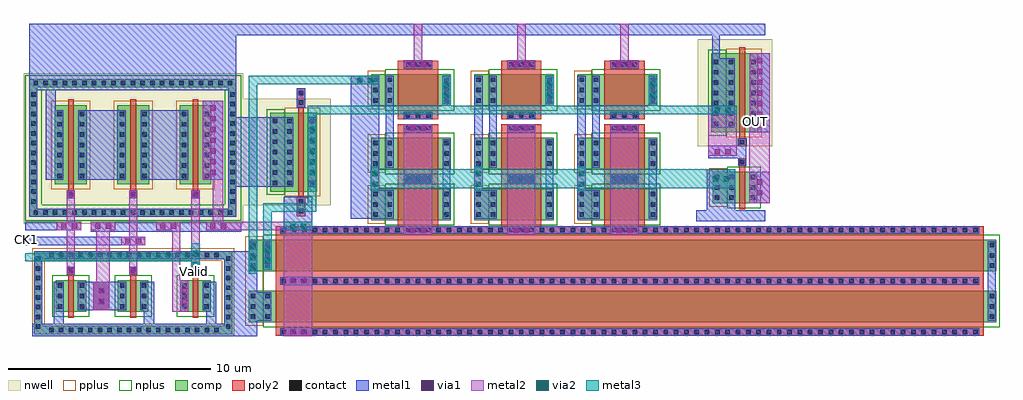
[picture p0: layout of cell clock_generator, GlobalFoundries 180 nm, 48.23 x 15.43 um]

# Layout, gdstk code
from math import pi, radians
import gdstk
lib = gdstk.Library(unit=1e-6, precision=1e-09)
def R(c, l, rs):  # rectangles x0, y0, x1, y1
    for r in rs: c.add(gdstk.rectangle(r[:2], r[2:], *l))
def A(c, l, x, y, w, h, nx, ny, dx, dy):  # array of equal rectangles
    R(c, l, [(x+i*dx, y+j*dy, x+i*dx+w, y+j*dy+h) for i in range(nx) for j in range(ny)])
nwell = (21, 0)
comp = (22, 0)
poly2 = (30, 0)
pplus = (31, 0)
nplus = (32, 0)
contact = (33, 0)
metal1 = (34, 0)
via1 = (35, 0)
metal2 = (36, 0)
via2 = (38, 0)
metal3 = (42, 0)

nfet = lib.new_cell('nfet')
R(nfet, comp, [(-0.42,0,0,1.56), (0,0,35.38,1.56), (35.38,0,35.8,1.56), (35.8,0,36.51,1.56)])
R(nfet, poly2, [(0.19,-0.66,35.19,-0.3), (0.19,-0.3,35.19,1.86), (0.19,1.86,35.19,2.22)])
R(nfet, pplus, [(35.8,-0.17,36.68,1.73)])
R(nfet, nplus, [(-0.59,-0.24,35.8,1.8)])
A(nfet, contact, 0.495, -0.59, 0.22, 0.22, 68, 2, 0.51, 2.52)
A(nfet, contact, -0.32, 0.16, 0.22, 0.22, 1, 3, 0, 0.51)
A(nfet, contact, 35.48, 0.16, 0.22, 0.22, 1, 3, 0, 0.51)
A(nfet, contact, 36.19, 0.16, 0.22, 0.22, 1, 3, 0, 0.51)
R(nfet, metal1, [(0.415,-0.67,34.965,-0.29), (-0.4,0.08,-0.02,1.48), (35.4,0.08,35.78,1.48), (36.11,0.08,36.49,1.48), (0.415,1.85,34.965,2.23)])

via_dev = lib.new_cell('via_dev')
R(via_dev, poly2, [(0,0,0.96,0.42)])
R(via_dev, contact, [(0.13,0.1,0.35,0.32), (0.61,0.1,0.83,0.32)])
R(via_dev, metal1, [(0,0,0.96,0.42)])

pfet = lib.new_cell('pfet')
R(pfet, nwell, [(-1.15,-0.69,2.54,4.59)])
R(pfet, comp, [(-0.46,0,0,3.9), (0,0,0.66,3.9), (0.66,0,1.12,3.9), (1.12,0,1.85,3.9)])
R(pfet, poly2, [(0.14,-0.68,0.52,-0.3), (0.19,-0.3,0.47,4.2), (0.14,4.2,0.52,4.58)])
R(pfet, pplus, [(-0.63,-0.24,1.12,4.14)])
R(pfet, nplus, [(1.12,-0.17,2.02,4.07)])
A(pfet, contact, -0.34, 0.31, 0.22, 0.22, 1, 7, 0, 0.51)
A(pfet, contact, 0.78, 0.31, 0.22, 0.22, 1, 7, 0, 0.51)
A(pfet, contact, 1.51, 0.31, 0.22, 0.22, 1, 7, 0, 0.51)
R(pfet, contact, [(0.22,-0.6,0.44,-0.38), (0.22,4.28,0.44,4.5)])
R(pfet, metal1, [(0.14,-0.681,0.52,-0.299), (-0.42,0.23,-0.04,3.67), (0.7,0.23,1.08,3.67), (1.43,0.23,1.81,3.67), (0.14,4.199,0.52,4.581)])

via_dev_1 = lib.new_cell('via_dev$1')
R(via_dev_1, metal1, [(0,0,1.4,0.42)])
R(via_dev_1, via1, [(0.305,0.08,0.565,0.34), (0.835,0.08,1.095,0.34)])
R(via_dev_1, metal2, [(0,0,1.4,0.42)])
R(via_dev_1, via2, [(0.305,0.08,0.565,0.34), (0.835,0.08,1.095,0.34)])
R(via_dev_1, metal3, [(0,0,1.4,0.42)])

via_dev_2 = lib.new_cell('via_dev$2')
R(via_dev_2, metal1, [(0,0,1.4,0.42)])
R(via_dev_2, via1, [(0.305,0.08,0.565,0.34), (0.835,0.08,1.095,0.34)])
R(via_dev_2, metal2, [(0,0,1.4,0.42)])

via_dev_3 = lib.new_cell('via_dev$3')
R(via_dev_3, metal1, [(0,0,3,0.42)])
A(via_dev_3, via1, 0.31, 0.08, 0.26, 0.26, 5, 1, 0.53, 0)
R(via_dev_3, metal2, [(0,0,3,0.42)])
A(via_dev_3, via2, 0.31, 0.08, 0.26, 0.26, 5, 1, 0.53, 0)
R(via_dev_3, metal3, [(0,0,3,0.42)])

nfet_1 = lib.new_cell('nfet$1')
R(nfet_1, comp, [(-0.42,0,0,1.56), (0,0,2.38,1.56), (2.38,0,2.8,1.56), (2.8,0,3.51,1.56)])
R(nfet_1, poly2, [(0.19,-0.66,2.19,-0.3), (0.19,-0.3,2.19,1.86), (0.19,1.86,2.19,2.22)])
R(nfet_1, pplus, [(2.8,-0.17,3.68,1.73)])
R(nfet_1, nplus, [(-0.59,-0.24,2.8,1.8)])
A(nfet_1, contact, 0.57, -0.59, 0.22, 0.22, 3, 2, 0.51, 2.52)
A(nfet_1, contact, -0.32, 0.16, 0.22, 0.22, 1, 3, 0, 0.51)
A(nfet_1, contact, 2.48, 0.16, 0.22, 0.22, 1, 3, 0, 0.51)
A(nfet_1, contact, 3.19, 0.16, 0.22, 0.22, 1, 3, 0, 0.51)
R(nfet_1, metal1, [(0.49,-0.67,1.89,-0.29), (-0.4,0.08,-0.02,1.48), (2.4,0.08,2.78,1.48), (3.11,0.08,3.49,1.48), (0.49,1.85,1.89,2.23)])

via_dev_4 = lib.new_cell('via_dev$4')
R(via_dev_4, metal1, [(0,0,1.2,0.42)])
R(via_dev_4, via1, [(0.205,0.08,0.465,0.34), (0.735,0.08,0.995,0.34)])
R(via_dev_4, metal2, [(0,0,1.2,0.42)])
R(via_dev_4, via2, [(0.205,0.08,0.465,0.34), (0.735,0.08,0.995,0.34)])
R(via_dev_4, metal3, [(0,0,1.2,0.42)])

via_dev_5 = lib.new_cell('via_dev$5')
R(via_dev_5, metal1, [(0,0,1.6,0.42)])
A(via_dev_5, via1, 0.14, 0.08, 0.26, 0.26, 3, 1, 0.53, 0)
R(via_dev_5, metal2, [(0,0,1.6,0.42)])
A(via_dev_5, via2, 0.14, 0.08, 0.26, 0.26, 3, 1, 0.53, 0)
R(via_dev_5, metal3, [(0,0,1.6,0.42)])

clock_generator_delay_ce = lib.new_cell('clock_generator_delay_cell')
R(clock_generator_delay_ce, pplus, [(-16.1,-8.72,-15.22,-4.3)])
R(clock_generator_delay_ce, nplus, [(-15.22,-6.795,21.17,-6.26)])
A(clock_generator_delay_ce, metal1, -9.865, -3.43, 1.09, 1.4, 3, 1, 5.1, 0)
A(clock_generator_delay_ce, metal1, -6.355, -3.43, 0.38, 3.92, 3, 1, 5.1, 0)
A(clock_generator_delay_ce, metal1, -9.155, 0.39, 0.38, 2.935, 3, 1, 5.1, 0)
R(clock_generator_delay_ce, metal1, [(-15.935,-8.47,-15.515,-4.55), (-15.91,-8.47,-14.82,-7.07), (20.6,-8.47,20.98,-4.55), (-13.565,-4.005,-13.145,-2.345), (-10.88,-3.43,-9.48,3.62), (-4.795,-3.43,-4.375,3.62), (-4.765,-3.43,-4.385,3.62), (0.305,-3.43,0.725,3.62), (0.335,-3.43,0.715,3.62), (-14.835,-1.865,-13.725,1.575)])
A(clock_generator_delay_ce, metal2, -8.265, -4.22, 1.4, 5.46, 3, 1, 5.1, 0)
R(clock_generator_delay_ce, metal2, [(-14.195,-9.24,-12.795,-3.625)])
clock_generator_delay_ce.add(gdstk.FlexPath([(-12.795,0.09),(-12.795,1.93),(7.44,1.93)], 0.42, ends="flush", simple_path=True, layer=42, datatype=0))  # metal3
clock_generator_delay_ce.add(gdstk.FlexPath([(8.105,-1.47),(-9.7,-1.47)], 0.95, ends="flush", simple_path=True, layer=42, datatype=0))  # metal3
clock_generator_delay_ce.add(gdstk.FlexPath([(-6.165,2.655),(-6.165,1.79)], 0.42, ends="flush", simple_path=True, layer=42, datatype=0))  # metal3
clock_generator_delay_ce.add(gdstk.FlexPath([(-15.01,-4.985),(-15.01,-2.89),(-12.795,-2.89),(-12.795,0.1)], 0.42, ends="flush", simple_path=True, layer=42, datatype=0))  # metal3
clock_generator_delay_ce.add(gdstk.FlexPath([(4.035,2.655),(4.035,1.81)], 0.42, ends="flush", simple_path=True, layer=42, datatype=0))  # metal3
clock_generator_delay_ce.add(gdstk.FlexPath([(-15.725,-4.82),(-15.725,3.41),(-9.48,3.41)], 0.42, ends="flush", simple_path=True, layer=42, datatype=0))  # metal3
clock_generator_delay_ce.add(gdstk.FlexPath([(-13.76,-3.81),(-18.045,-3.81)], 0.42, ends="flush", simple_path=True, layer=36, datatype=0))  # metal2
clock_generator_delay_ce.add(gdstk.Reference(nfet, (20.58,-6.03), rotation=pi, x_reflection=True))
clock_generator_delay_ce.add(gdstk.Reference(nfet, (20.58,-8.55), rotation=pi, x_reflection=True))
clock_generator_delay_ce.add(gdstk.Reference(via_dev, (-13.565,-2.345), rotation=3*pi/2))
clock_generator_delay_ce.add(gdstk.Reference(pfet, (-13.025,-2.095), rotation=pi, x_reflection=True))
clock_generator_delay_ce.add(gdstk.Reference(via_dev, (-13.565,3.015), rotation=3*pi/2))
clock_generator_delay_ce.add(gdstk.Reference(via_dev_1, (-12.795,-3.6), rotation=pi))
clock_generator_delay_ce.add(gdstk.Reference(via_dev_2, (-12.795,-6.3), rotation=pi))
clock_generator_delay_ce.add(gdstk.Reference(via_dev_2, (-12.795,-8.82), rotation=pi))
clock_generator_delay_ce.add(gdstk.Reference(via_dev_1, (-15.22,-4.55), rotation=3*pi/2))
clock_generator_delay_ce.add(gdstk.Reference(via_dev_1, (-1.275,2.22), rotation=pi/2, x_reflection=True))
clock_generator_delay_ce.add(gdstk.Reference(via_dev_3, (-12.585,-1.59), rotation=pi/2))
clock_generator_delay_ce.add(gdstk.Reference(via_dev_2, (-3.165,1.24), x_reflection=True))
clock_generator_delay_ce.add(gdstk.Reference(via_dev_2, (-3.165,-1.265), x_reflection=True))
clock_generator_delay_ce.add(gdstk.Reference(via_dev_2, (-3.165,-3.8), x_reflection=True))
clock_generator_delay_ce.add(gdstk.Reference(nfet_1, (-1.275,3.7), rotation=pi))
clock_generator_delay_ce.add(gdstk.Reference(nfet_1, (-1.275,0.57), rotation=pi))
clock_generator_delay_ce.add(gdstk.Reference(nfet_1, (-1.275,-1.95), rotation=pi))
clock_generator_delay_ce.add(gdstk.Reference(via_dev_1, (3.825,2.22), rotation=pi/2, x_reflection=True))
clock_generator_delay_ce.add(gdstk.Reference(via_dev_2, (1.935,1.24), x_reflection=True))
clock_generator_delay_ce.add(gdstk.Reference(via_dev_2, (1.935,-1.265), x_reflection=True))
clock_generator_delay_ce.add(gdstk.Reference(via_dev_2, (1.935,-3.8), x_reflection=True))
clock_generator_delay_ce.add(gdstk.Reference(nfet_1, (3.825,3.7), rotation=pi))
clock_generator_delay_ce.add(gdstk.Reference(nfet_1, (3.825,0.57), rotation=pi))
clock_generator_delay_ce.add(gdstk.Reference(nfet_1, (3.825,-1.95), rotation=pi))
clock_generator_delay_ce.add(gdstk.Reference(via_dev_1, (-6.375,2.22), rotation=pi/2, x_reflection=True))
clock_generator_delay_ce.add(gdstk.Reference(via_dev_2, (-8.265,1.24), x_reflection=True))
clock_generator_delay_ce.add(gdstk.Reference(via_dev_2, (-8.265,-1.265), x_reflection=True))
clock_generator_delay_ce.add(gdstk.Reference(via_dev_2, (-8.265,-3.8), x_reflection=True))
clock_generator_delay_ce.add(gdstk.Reference(nfet_1, (-6.375,3.7), rotation=pi))
clock_generator_delay_ce.add(gdstk.Reference(nfet_1, (-6.375,0.57), rotation=pi))
clock_generator_delay_ce.add(gdstk.Reference(nfet_1, (-6.375,-1.95), rotation=pi))
clock_generator_delay_ce.add(gdstk.Reference(via_dev_4, (-9.48,-2.065), rotation=pi/2))
clock_generator_delay_ce.add(gdstk.Reference(via_dev_4, (-4.375,-2.065), rotation=pi/2))
clock_generator_delay_ce.add(gdstk.Reference(via_dev_4, (0.725,-2.065), rotation=pi/2))
clock_generator_delay_ce.add(gdstk.Reference(via_dev_5, (-15.935,-4.55), rotation=3*pi/2))
clock_generator_delay_ce.add(gdstk.Reference(via_dev_1, (-9.48,3.62), rotation=pi))
clock_generator_delay_ce.add(gdstk.Label('VDDD', (-17.675,5.93), layer=34, texttype=10))
clock_generator_delay_ce.add(gdstk.Label('VSSD', (-15.68,-7.835), layer=34, texttype=10))
clock_generator_delay_ce.add(gdstk.Label('A', (-7.535,4.24), layer=34, texttype=10))
clock_generator_delay_ce.add(gdstk.Label('B', (-2.46,4.08), layer=34, texttype=10))
clock_generator_delay_ce.add(gdstk.Label('C', (2.62,4.2), layer=34, texttype=10))

pfet_1 = lib.new_cell('pfet$1')
R(pfet_1, nwell, [(-0.9,-0.44,1.56,4.34)])
R(pfet_1, comp, [(-0.46,0,0,3.9), (0,0,0.66,3.9), (0.66,0,1.12,3.9)])
R(pfet_1, poly2, [(0.19,-0.3,0.47,4.2), (0.14,4.2,0.52,4.58)])
R(pfet_1, pplus, [(-0.63,-0.24,1.29,4.14)])
A(pfet_1, contact, -0.34, 0.31, 0.22, 0.22, 1, 7, 0, 0.51)
A(pfet_1, contact, 0.78, 0.31, 0.22, 0.22, 1, 7, 0, 0.51)
R(pfet_1, contact, [(0.22,4.28,0.44,4.5)])
R(pfet_1, metal1, [(-0.42,0.23,-0.04,3.67), (0.7,0.23,1.08,3.67), (0.14,4.199,0.52,4.581)])

via_dev_6 = lib.new_cell('via_dev$6')
R(via_dev_6, poly2, [(0,0,0.4,0.4)])
R(via_dev_6, contact, [(0.09,0.09,0.31,0.31)])
R(via_dev_6, metal1, [(0,0,0.4,0.4)])
R(via_dev_6, via1, [(0.07,0.07,0.33,0.33)])
R(via_dev_6, metal2, [(0,0,0.4,0.4)])

via_dev_7 = lib.new_cell('via_dev$7')
R(via_dev_7, metal1, [(0,0,1,3.9)])
A(via_dev_7, via1, 0.37, 0.23, 0.26, 0.26, 1, 7, 0, 0.53)
R(via_dev_7, metal2, [(0,0,1,3.9)])

nfet_2 = lib.new_cell('nfet$2')
R(nfet_2, comp, [(-0.42,0,0,1.56), (0,0,0.66,1.56), (0.66,0,1.08,1.56)])
R(nfet_2, poly2, [(0.19,-0.3,0.47,1.86), (0.15,1.86,0.51,2.22)])
R(nfet_2, nplus, [(-0.59,-0.24,1.25,1.8)])
A(nfet_2, contact, -0.32, 0.16, 0.22, 0.22, 1, 3, 0, 0.51)
A(nfet_2, contact, 0.76, 0.16, 0.22, 0.22, 1, 3, 0, 0.51)
R(nfet_2, contact, [(0.22,1.93,0.44,2.15)])
R(nfet_2, metal1, [(-0.4,0.08,-0.02,1.48), (0.68,0.08,1.06,1.48), (0.14,1.849,0.52,2.231)])

via_dev_8 = lib.new_cell('via_dev$8')
R(via_dev_8, comp, [(0,0,0.4,6)])
A(via_dev_8, contact, 0.09, 0.25, 0.22, 0.22, 1, 12, 0, 0.48)
R(via_dev_8, metal1, [(0,0,0.4,6)])

via_dev_9 = lib.new_cell('via_dev$9')
R(via_dev_9, metal1, [(0,0,1.2,0.4)])
R(via_dev_9, via1, [(0.205,0.07,0.465,0.33), (0.735,0.07,0.995,0.33)])
R(via_dev_9, metal2, [(0,0,1.2,0.4)])

via_dev_10 = lib.new_cell('via_dev$10')
R(via_dev_10, comp, [(0,0,10.23,0.4)])
A(via_dev_10, contact, 0.205, 0.09, 0.22, 0.22, 21, 1, 0.48, 0)
R(via_dev_10, metal1, [(0,0,10.23,0.4)])

via_dev_11 = lib.new_cell('via_dev$11')
R(via_dev_11, comp, [(0,0,9.08,0.4)])
A(via_dev_11, contact, 0.35, 0.09, 0.22, 0.22, 18, 1, 0.48, 0)
R(via_dev_11, metal1, [(0,0,9.08,0.4)])

via_dev_12 = lib.new_cell('via_dev$12')
R(via_dev_12, comp, [(0,0,0.4,4.1)])
A(via_dev_12, contact, 0.09, 0.26, 0.22, 0.22, 1, 8, 0, 0.48)
R(via_dev_12, metal1, [(0,0,0.4,4.1)])

via_dev_13 = lib.new_cell('via_dev$13')
R(via_dev_13, poly2, [(0,0,0.8,1.4)])
R(via_dev_13, contact, [(0.29,0.35,0.51,0.57), (0.29,0.83,0.51,1.05)])
R(via_dev_13, metal1, [(0,0,0.8,1.4)])
R(via_dev_13, via1, [(0.27,0.305,0.53,0.565), (0.27,0.835,0.53,1.095)])
R(via_dev_13, metal2, [(0,0,0.8,1.4)])

via_dev_14 = lib.new_cell('via_dev$14')
R(via_dev_14, metal1, [(0,0,0.4,1.56)])
R(via_dev_14, via1, [(0.07,0.385,0.33,0.645), (0.07,0.915,0.33,1.175)])
R(via_dev_14, metal2, [(0,0,0.4,1.56)])

via_dev_15 = lib.new_cell('via_dev$15')
R(via_dev_15, metal2, [(0,0,0.4,1.56)])
R(via_dev_15, via2, [(0.07,0.385,0.33,0.645), (0.07,0.915,0.33,1.175)])
R(via_dev_15, metal3, [(0,0,0.4,1.56)])

clock_generator_nor_3_1x = lib.new_cell('clock_generator_nor_3_1x')
R(clock_generator_nor_3_1x, nwell, [(-1.89,-1.15,8.96,6.3)])
R(clock_generator_nor_3_1x, pplus, [(-1.45,-6.7,-0.83,-2.35), (-1.45,-6.7,7.98,-6.08), (7.9,-6.7,8.52,-2.35), (-1.45,-2.97,7.98,-2.35)])
R(clock_generator_nor_3_1x, nplus, [(-1.8,-1,8.86,-0.2), (-1.8,-0.85,-1,6.05), (8.06,-0.85,8.86,6.1), (-1.8,5.45,8.86,6.18)])
R(clock_generator_nor_3_1x, metal1, [(-1.45,-6.7,8.52,-6.08), (-0.4,-6.29,0.1,-4.02), (4.06,-6.29,4.56,-4.02), (7.14,-6.29,7.64,-4.02), (1.17,-5.42,2.84,-4.02), (-1.8,-2.2,2.93,-1.8), (1.44,-1.54,8.88,-1.06), (-1.8,-1.46,-0.24,-1.06), (-0.8,1.03,-0.3,5.98), (1.2,1.03,2.78,4.47), (1.2,1.03,2.78,4.47), (-1.6,5.45,8.63,6.1)])
R(clock_generator_nor_3_1x, metal2, [(5.46,-5.5,5.86,-1.06), (1.7,-4.02,2.38,-1.06), (0.25,-3.26,0.65,0.18), (3.33,-3.26,3.73,0.29), (6.41,-3.26,6.81,0.29), (7.46,-1.2,7.98,1.2)])
R(clock_generator_nor_3_1x, metal3, [(-1.8,-3,6.81,-2.6)])
clock_generator_nor_3_1x.add(gdstk.Reference(pfet_1, (0.12,4.7), x_reflection=True))
clock_generator_nor_3_1x.add(gdstk.Reference(via_dev_6, (3.33,-3.66)))
clock_generator_nor_3_1x.add(gdstk.Reference(via_dev_6, (0.25,0.11)))
clock_generator_nor_3_1x.add(gdstk.Reference(via_dev_6, (3.33,0.11)))
clock_generator_nor_3_1x.add(gdstk.Reference(via_dev_7, (6.98,1.03)))
clock_generator_nor_3_1x.add(gdstk.Reference(nfet_2, (0.12,-5.5)))
clock_generator_nor_3_1x.add(gdstk.Reference(via_dev_8, (-1.6,-0.4)))
clock_generator_nor_3_1x.add(gdstk.Reference(via_dev_9, (2.93,-2.2)))
clock_generator_nor_3_1x.add(gdstk.Reference(via_dev_10, (-1.6,5.6)))
clock_generator_nor_3_1x.add(gdstk.Reference(nfet_2, (3.2,-5.5)))
clock_generator_nor_3_1x.add(gdstk.Reference(via_dev_11, (-0.97,-2.9)))
clock_generator_nor_3_1x.add(gdstk.Reference(via_dev_11, (-0.97,-6.6)))
clock_generator_nor_3_1x.add(gdstk.Reference(via_dev_12, (-1.37,-6.6)))
clock_generator_nor_3_1x.add(gdstk.Reference(via_dev_13, (1.56,-5.42)))
clock_generator_nor_3_1x.add(gdstk.Reference(via_dev_6, (0.25,-3.66)))
clock_generator_nor_3_1x.add(gdstk.Reference(via_dev_9, (1.44,-1.46)))
clock_generator_nor_3_1x.add(gdstk.Reference(via_dev_9, (7.13,-1.46)))
clock_generator_nor_3_1x.add(gdstk.Reference(pfet_1, (3.2,4.7), x_reflection=True))
clock_generator_nor_3_1x.add(gdstk.Reference(via_dev_9, (-0.24,-1.46)))
clock_generator_nor_3_1x.add(gdstk.Reference(via_dev_10, (-1.6,-0.8)))
clock_generator_nor_3_1x.add(gdstk.Reference(pfet_1, (6.28,4.7), x_reflection=True))
clock_generator_nor_3_1x.add(gdstk.Reference(via_dev_8, (8.23,-0.4)))
clock_generator_nor_3_1x.add(gdstk.Reference(via_dev_6, (6.41,0.11)))
clock_generator_nor_3_1x.add(gdstk.Reference(via_dev_12, (8.03,-6.6)))
clock_generator_nor_3_1x.add(gdstk.Reference(nfet_2, (6.28,-5.5)))
clock_generator_nor_3_1x.add(gdstk.Reference(via_dev_6, (6.41,-3.66)))
clock_generator_nor_3_1x.add(gdstk.Reference(via_dev_14, (5.86,-5.5)))
clock_generator_nor_3_1x.add(gdstk.Reference(via_dev_9, (4.66,-1.46)))
clock_generator_nor_3_1x.add(gdstk.Reference(via_dev_15, (6.41,-3.66)))

pfet_2 = lib.new_cell('pfet$2')
R(pfet_2, nwell, [(-1.15,-0.69,2.54,4.59)])
R(pfet_2, comp, [(-0.46,0,0,3.9), (0,0,0.66,3.9), (0.66,0,1.12,3.9), (1.12,0,1.85,3.9)])
R(pfet_2, poly2, [(0.19,-0.3,0.47,4.2), (0.14,4.2,0.52,4.58)])
R(pfet_2, pplus, [(-0.63,-0.24,1.12,4.14)])
R(pfet_2, nplus, [(1.12,-0.17,2.02,4.07)])
A(pfet_2, contact, -0.34, 0.31, 0.22, 0.22, 1, 7, 0, 0.51)
A(pfet_2, contact, 0.78, 0.31, 0.22, 0.22, 1, 7, 0, 0.51)
A(pfet_2, contact, 1.51, 0.31, 0.22, 0.22, 1, 7, 0, 0.51)
R(pfet_2, contact, [(0.22,4.28,0.44,4.5)])
R(pfet_2, metal1, [(-0.42,0.23,-0.04,3.67), (0.7,0.23,1.08,3.67), (1.43,0.23,1.81,3.67), (0.14,4.199,0.52,4.581)])

nfet_3 = lib.new_cell('nfet$3')
R(nfet_3, comp, [(-0.42,0,0,1.56), (0,0,0.66,1.56), (0.66,0,1.08,1.56), (1.08,0,1.79,1.56)])
R(nfet_3, poly2, [(0.19,-0.3,0.47,1.86), (0.15,1.86,0.51,2.22)])
R(nfet_3, pplus, [(1.08,-0.17,1.96,1.73)])
R(nfet_3, nplus, [(-0.59,-0.24,1.08,1.8)])
A(nfet_3, contact, -0.32, 0.16, 0.22, 0.22, 1, 3, 0, 0.51)
A(nfet_3, contact, 0.76, 0.16, 0.22, 0.22, 1, 3, 0, 0.51)
A(nfet_3, contact, 1.47, 0.16, 0.22, 0.22, 1, 3, 0, 0.51)
R(nfet_3, contact, [(0.22,1.93,0.44,2.15)])
R(nfet_3, metal1, [(-0.4,0.08,-0.02,1.48), (0.68,0.08,1.06,1.48), (1.39,0.08,1.77,1.48), (0.14,1.849,0.52,2.231)])

via_dev_16 = lib.new_cell('via_dev$16')
R(via_dev_16, metal1, [(0,0,1,1.56)])
R(via_dev_16, via1, [(0.37,0.385,0.63,0.645), (0.37,0.915,0.63,1.175)])
R(via_dev_16, metal2, [(0,0,1,1.56)])

via_dev_17 = lib.new_cell('via_dev$17')
R(via_dev_17, metal1, [(0,0,1,3.9)])
A(via_dev_17, via1, 0.37, 0.23, 0.26, 0.26, 1, 7, 0, 0.53)
R(via_dev_17, metal2, [(0,0,1,3.9)])

clock_generator_inv_1x = lib.new_cell('clock_generator_inv_1x')
R(clock_generator_inv_1x, metal1, [(-22.255,0.89,-18.855,1.44), (-21.425,1.39,-21.055,1.89), (-21.155,1.87,-20.605,3.27), (-20.18,3.635,-19.795,4.02), (-20.175,3.89,-19.795,4.7), (-21.655,4.02,-19.795,4.63), (-20.205,4.61,-19.765,5), (-21.135,5.52,-20.645,8.96), (-21.465,8.91,-21.085,10.16), (-22.255,10.09,-18.855,10.65)])
R(clock_generator_inv_1x, metal2, [(-19.635,3.35,-18.615,5.3)])
clock_generator_inv_1x.add(gdstk.Reference(pfet_2, (-19.655,9.19), rotation=pi))
clock_generator_inv_1x.add(gdstk.Reference(nfet_3, (-19.655,1.79), rotation=pi, x_reflection=True))
clock_generator_inv_1x.add(gdstk.Reference(via_dev_16, (-19.635,1.79)))
clock_generator_inv_1x.add(gdstk.Reference(via_dev_17, (-19.615,5.29)))

via_dev_19 = lib.new_cell('via_dev$19')
R(via_dev_19, metal2, [(0,0,1.4,0.42)])
R(via_dev_19, via2, [(0.305,0.08,0.565,0.34), (0.835,0.08,1.095,0.34)])
R(via_dev_19, metal3, [(0,0,1.4,0.42)])

via_dev_18 = lib.new_cell('via_dev$18')
R(via_dev_18, metal1, [(0,0,1.4,0.95)])
R(via_dev_18, via1, [(0.305,0.345,0.565,0.605), (0.835,0.345,1.095,0.605)])
R(via_dev_18, metal2, [(0,0,1.4,0.95)])
R(via_dev_18, via2, [(0.305,0.345,0.565,0.605), (0.835,0.345,1.095,0.605)])
R(via_dev_18, metal3, [(0,0,1.4,0.95)])

clock_generator = lib.new_cell('clock_generator')
R(clock_generator, nwell, [(-14.86,1.225,-13.975,6.505)])
R(clock_generator, metal1, [(-15.37,-5.23,-14.04,-1.03), (-12.72,-0.085,-11.32,1.665), (8.18,0.89,9.58,3.015), (-15.38,2.145,-12.25,5.585), (-19.42,2.5,-17.84,5.94), (-25.3,7.245,-15.07,10.2), (-17.32,9.64,8.395,10.2)])
R(clock_generator, metal2, [(8.26,3.675,9.66,6.15)])
clock_generator.add(gdstk.FlexPath([(0.41,6.665),(0.41,5.82)], 0.42, ends="flush", simple_path=True, layer=42, datatype=0))  # metal3
clock_generator.add(gdstk.FlexPath([(4.115,8.19),(4.115,10.2)], 0.42, ends="flush", simple_path=True, layer=36, datatype=0))  # metal2
clock_generator.add(gdstk.FlexPath([(-0.98,8.19),(-0.98,10.2)], 0.42, ends="flush", simple_path=True, layer=36, datatype=0))  # metal2
clock_generator.add(gdstk.FlexPath([(-6.095,8.19),(-6.095,10.2)], 0.42, ends="flush", simple_path=True, layer=36, datatype=0))  # metal2
clock_generator.add(gdstk.Reference(clock_generator_delay_ce, (1.475,4.01)))
clock_generator.add(gdstk.Reference(clock_generator_nor_3_1x, (-23.7,1.47)))
clock_generator.add(gdstk.Reference(clock_generator_inv_1x, (29.915,-0.45)))
clock_generator.add(gdstk.Reference(via_dev_2, (-6.79,7.98)))
clock_generator.add(gdstk.Reference(via_dev_2, (-1.69,7.98)))
clock_generator.add(gdstk.Reference(via_dev_2, (3.41,7.98)))
clock_generator.add(gdstk.Reference(via_dev_19, (8.26,5.73)))
clock_generator.add(gdstk.Reference(via_dev_2, (8.26,3.675)))
clock_generator.add(gdstk.Reference(via_dev_18, (8.18,2.065)))
clock_generator.add(gdstk.Label('Valid', (-17.15,-2.025), layer=34, texttype=10))
clock_generator.add(gdstk.Label('CK1', (-25.435,-0.455), layer=34, texttype=10))
clock_generator.add(gdstk.Label('clks', (-25.37,0.19), layer=34, texttype=10))
clock_generator.add(gdstk.Label('OUT', (10.605,5.36), layer=34, texttype=10))

lib.write_gds('clock_generator.gds')
